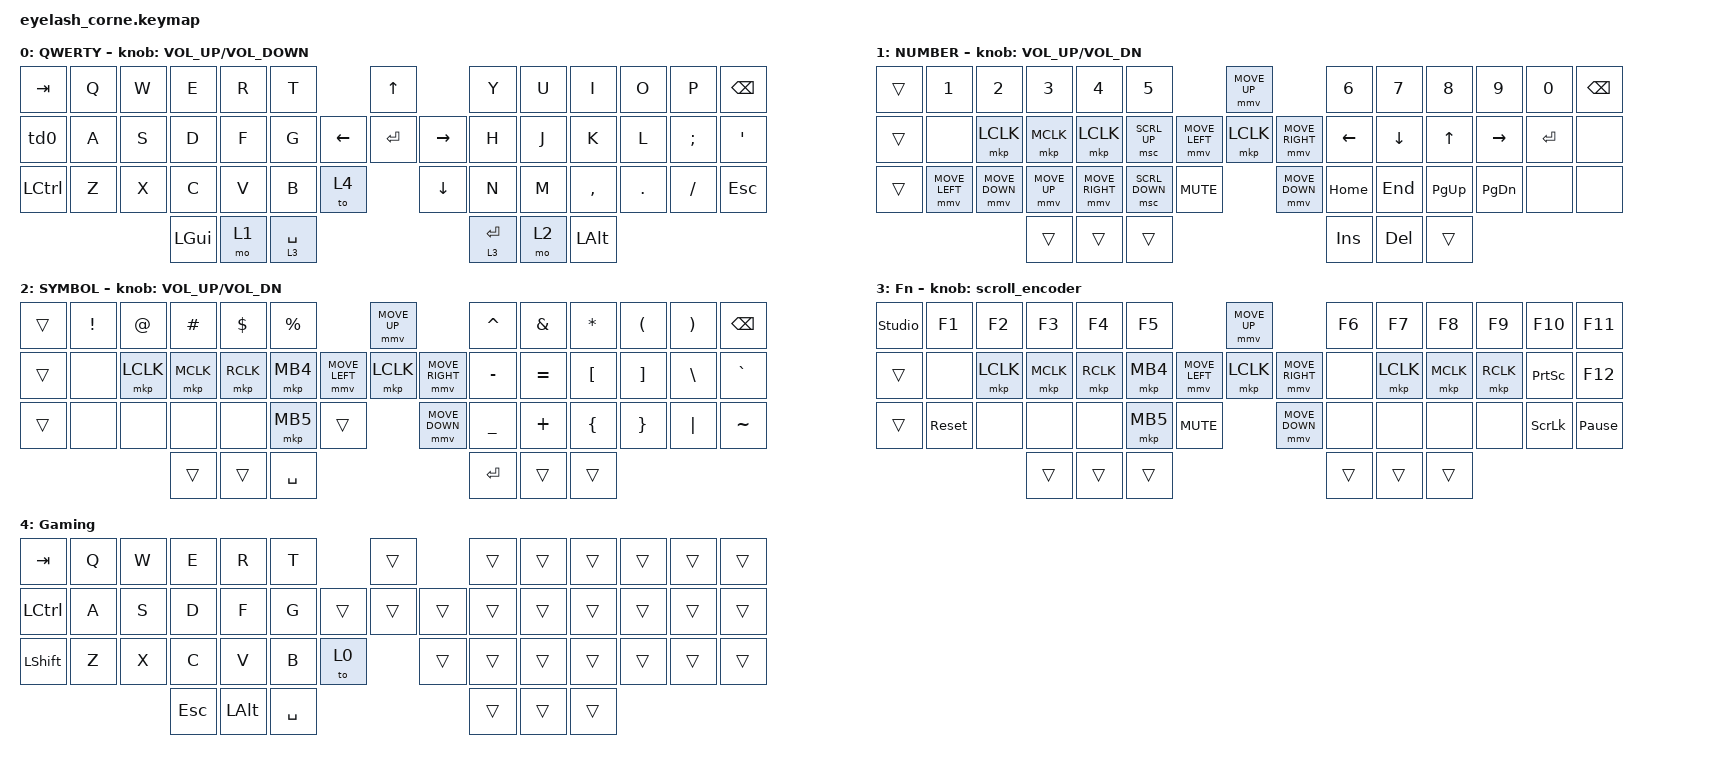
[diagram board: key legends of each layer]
#define ZMK_POINTING_DEFAULT_MOVE_VAL 1200  // 600
#define ZMK_POINTING_DEFAULT_SCRL_VAL 25   // 10

#include <input/processors.dtsi>
#include <zephyr/dt-bindings/input/input-event-codes.h>
#include <behaviors.dtsi>
#include <dt-bindings/zmk/keys.h>
#include <dt-bindings/zmk/pointing.h>
#include <dt-bindings/zmk/rgb.h>

&mmv_input_listener { input-processors = <&zip_xy_scaler 2 1>; };

&msc_input_listener { input-processors = <&zip_scroll_scaler 2 1>; };

&msc {
    acceleration-exponent = <1>;      // 0
    time-to-max-speed-ms = <100>;       // 300
    delay-ms = <0>;                   // 0
};

&mmv {
    time-to-max-speed-ms = <500>;
    acceleration-exponent = <1>;
    trigger-period-ms = <16>;
};

&soft_off { hold-time-ms = <2000>; };

/ {
    behaviors {
        td0: td0 {
            compatible = "zmk,behavior-tap-dance";
            display-name = "Shift/Caps Lock Tap Dance";
            #binding-cells = <0>;
            bindings = <&kp LEFT_SHIFT>, <&kp CAPS>;
        };
    };

    rgb_encoder: rgb_encoder {
        compatible = "zmk,behavior-sensor-rotate";
        #sensor-binding-cells = <0>;
        bindings = <&rgb_ug RGB_BRI>, <&rgb_ug RGB_BRD>;
    };

    scroll_encoder: scroll_encoder {
        compatible = "zmk,behavior-sensor-rotate";
        #sensor-binding-cells = <0>;
        bindings = <&msc SCRL_DOWN>, <&msc SCRL_UP>;

        tap-ms = <100>;
    };

    combos {
        compatible = "zmk,combos";

        softoff {
            bindings = <&soft_off>;
            key-positions = <1 15 29>;
        };
    };

    keymap {
        compatible = "zmk,keymap";

        Default {
            display-name = "QWERTY";
            bindings = <
&kp TAB    &kp Q  &kp W  &kp E     &kp R  &kp T                           &kp UP                &kp Y        &kp U  &kp I         &kp O    &kp P     &kp BSPC
&td0       &kp A  &kp S  &kp D     &kp F  &kp G                 &kp LEFT  &kp ENTER  &kp RIGHT  &kp H        &kp J  &kp K         &kp L    &kp SEMI  &kp SQT
&kp LCTRL  &kp Z  &kp X  &kp C     &kp V  &kp B        &to 4              &kp DOWN              &kp N        &kp M  &kp COMMA     &kp DOT  &kp FSLH  &kp ESC
                         &kp LGUI  &mo 1  &lt 3 SPACE                                           &lt 3 ENTER  &mo 2  &kp LEFT_ALT
            >;

            sensor-bindings = <&inc_dec_kp C_VOLUME_UP C_VOLUME_DOWN>;
        };

        Number {
            display-name = "NUMBER";
            bindings = <
&trans  &kp N1          &kp N2          &kp N3        &kp N4           &kp N5                                        &mmv MOVE_UP                     &kp N6    &kp N7    &kp N8     &kp N9         &kp N0     &kp BSPC
&trans  &none           &mkp LCLK       &mkp MCLK     &mkp LCLK        &msc SCRL_UP                  &mmv MOVE_LEFT  &mkp LCLK       &mmv MOVE_RIGHT  &kp LEFT  &kp DOWN  &kp UP     &kp RIGHT      &kp ENTER  &none
&trans  &mmv MOVE_LEFT  &mmv MOVE_DOWN  &mmv MOVE_UP  &mmv MOVE_RIGHT  &msc SCRL_DOWN  &kp C_MUTE                    &mmv MOVE_DOWN                   &kp HOME  &kp END   &kp PG_UP  &kp PAGE_DOWN  &none      &none
                                        &trans        &trans           &trans                                                                         &kp INS   &kp DEL   &trans
            >;

            sensor-bindings = <&inc_dec_kp C_VOLUME_UP C_VOL_DN>;
        };

        Symbol {
            display-name = "SYMBOL";
            bindings = <
&trans  &kp EXCL  &kp AT     &kp HASH   &kp DLLR   &kp PRCNT                            &mmv MOVE_UP                     &kp CARET  &kp AMPS   &kp ASTRK  &kp LPAR  &kp RPAR  &kp BSPC
&trans  &none     &mkp LCLK  &mkp MCLK  &mkp RCLK  &mkp MB4             &mmv MOVE_LEFT  &mkp LCLK       &mmv MOVE_RIGHT  &kp MINUS  &kp EQUAL  &kp LBKT   &kp RBKT  &kp BSLH  &kp GRAVE
&trans  &none     &none      &none      &none      &mkp MB5   &trans                    &mmv MOVE_DOWN                   &kp UNDER  &kp PLUS   &kp LBRC   &kp RBRC  &kp PIPE  &kp TILDE
                             &trans     &trans     &kp SPACE                                                             &kp RET    &trans     &trans
            >;

            sensor-bindings = <&inc_dec_kp C_VOLUME_UP C_VOL_DN>;
        };

        Fn {
            display-name = "Fn";
            bindings = <
&studio_unlock  &kp F1      &kp F2     &kp F3     &kp F4     &kp F5                                  &mmv MOVE_UP                     &kp F6  &kp F7     &kp F8     &kp F9     &kp F10          &kp F11
&trans          &none       &mkp LCLK  &mkp MCLK  &mkp RCLK  &mkp MB4                &mmv MOVE_LEFT  &mkp LCLK       &mmv MOVE_RIGHT  &none   &mkp LCLK  &mkp MCLK  &mkp RCLK  &kp PRINTSCREEN  &kp F12
&trans          &sys_reset  &none      &none      &none      &mkp MB5  &kp C_MUTE                    &mmv MOVE_DOWN                   &none   &none      &none      &none      &kp SCROLLLOCK   &kp PAUSE_BREAK
                                       &trans     &trans     &trans                                                                   &trans  &trans     &trans
            >;

            sensor-bindings = <&scroll_encoder>;
        };

        Gaming {
            bindings = <
&kp TAB    &kp Q  &kp W  &kp E    &kp R     &kp T                       &trans          &trans  &trans  &trans  &trans  &trans  &trans
&kp LCTRL  &kp A  &kp S  &kp D    &kp F     &kp G               &trans  &trans  &trans  &trans  &trans  &trans  &trans  &trans  &trans
&kp LSHFT  &kp Z  &kp X  &kp C    &kp V     &kp B      &to 0            &trans          &trans  &trans  &trans  &trans  &trans  &trans
                         &kp ESC  &kp LALT  &kp SPACE                                   &trans  &trans  &trans
            >;
        };
    };
};
